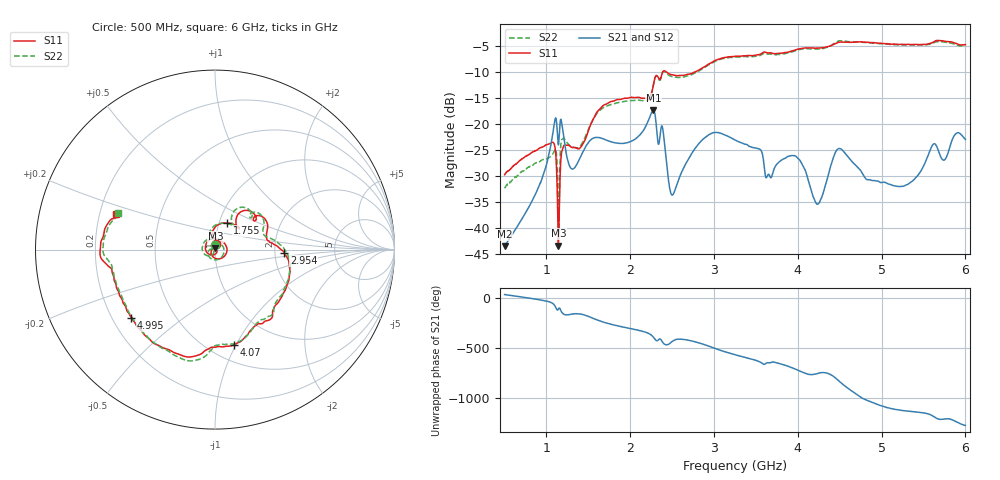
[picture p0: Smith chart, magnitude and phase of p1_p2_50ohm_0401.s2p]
# Hz S DB R 50
! CMT, C2409, 19096212, 19.2.3/2
! Date: 4/1/2022 3:23:28 AM
! Data: Format (Calibration Info)
! Freq	S11:dB/Ang(F2)	S21:dB/Ang(F2)	S12:dB/Ang(F2)	S22:dB/Ang(F2)
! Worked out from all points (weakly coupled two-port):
!   5001 points, 500 MHz to 6 GHz, reference 50 ohm
!   highest |S21| = -17.26 dB at 2.275 GHz (marker M1); lowest = -43.5 dB at 500 MHz (marker M2)
!   lowest |S11| = -43.4 dB at 1.142 GHz (marker M3), VSWR 1.01, Z = 50.2 + j0.639 ohm
!   |S11| at or under -10 dB: start of sweep to 2.385 GHz; 2.438 GHz to 2.757 GHz (318.7 MHz wide, 12.3 % of centre)
!   |S22| runs from -40.4 to -3.9 dB; largest |S21 - S12| = 0.0012
!   S11 on the Smith chart (normalised r, x): 500 MHz: 1.01, +0.07; 1.755 GHz: 1.09, +0.33; 2.954 GHz: 2.25, -0.09; 4.07 GHz: 0.65, -0.98; 4.995 GHz: 0.28, -0.33; 6 GHz: 0.27, +0.16
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5e8  -29.72 80.2  -43.47 29.9  -43.47 29.9  -32.33 86.5
9.068633e8  -24.69 49.8  -32.06 -20.5  -32.07 -20.4  -27.29 55.0
1.079157e9  -23.50 -11.3  -21.34 -61.7  -21.34 -61.6  -25.61 -23.1
1.115695e9  -27.07 -100.0  -19.02 -107.7  -19.03 -107.7  -25.28 -116.9
1.142062e9  -43.35 69.4  -23.97 -114.2  -23.98 -114.2  -36.39 172.9
1.193711e9  -24.69 148.9  -21.05 -156.1  -21.06 -156.0  -22.81 158.1
1.288019e9  -24.31 89.7  -28.40 -166.8  -28.41 -166.8  -24.19 105.5
1.416977e9  -24.23 91.4  -25.92 -165.4  -25.93 -165.4  -23.86 106.3
1.754577e9  -15.72 65.8  -23.30 97.8  -23.30 97.8  -16.27 72.9
2.275384e9  -12.49 56.8  -17.26 -33.0  -17.28 -32.9  -12.38 63.5
2.333793e9  -10.98 35.9  -23.74 -62.0  -23.75 -61.8  -11.19 41.6
2.388948e9  -9.86 34.8  -21.00 -87.0  -21.02 -86.9  -9.97 39.7
2.504443e9  -10.48 16.2  -33.60 -73.1  -33.61 -73.0  -10.85 21.3
2.953716e9  -8.26 -2.6  -21.87 -127.4  -21.88 -127.1  -8.39 1.8
3.251061e9  -6.91 -29.1  -23.03 151.7  -23.02 152.0  -7.07 -26.0
3.650186e9  -6.25 -55.9  -29.63 72.6  -29.61 72.8  -6.49 -53.1
4.069894e9  -5.33 -79.0  -28.30 -25.7  -28.11 -25.7  -5.46 -76.8
4.168149e9  -5.30 -85.8  -33.25 -45.4  -33.29 -44.2  -5.49 -83.8
4.497449e9  -4.18 -104.7  -24.67 -113.8  -24.62 -113.8  -3.92 -103.2
4.99468e9  -4.40 -140.7  -31.23 5.7  -31.17 5.4  -4.48 -141.8
5.084846e9  -4.51 -145.9  -31.52 -17.1  -31.47 -17.4  -4.60 -146.7
6e9  -4.66 160.1  -22.93 169.7  -22.90 169.7  -4.77 159.2
